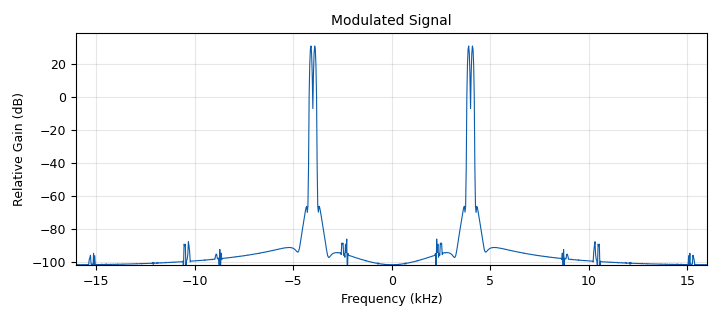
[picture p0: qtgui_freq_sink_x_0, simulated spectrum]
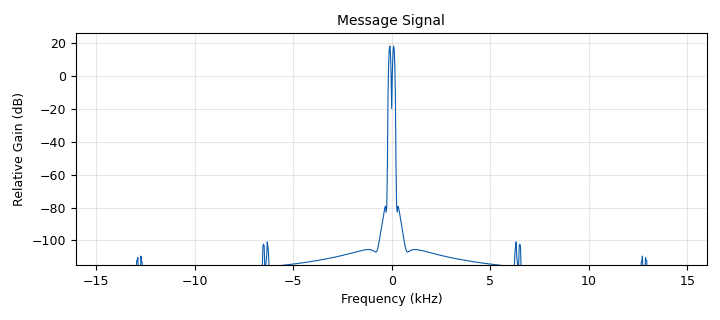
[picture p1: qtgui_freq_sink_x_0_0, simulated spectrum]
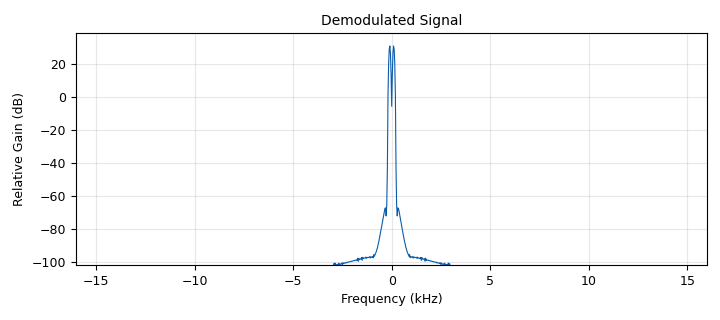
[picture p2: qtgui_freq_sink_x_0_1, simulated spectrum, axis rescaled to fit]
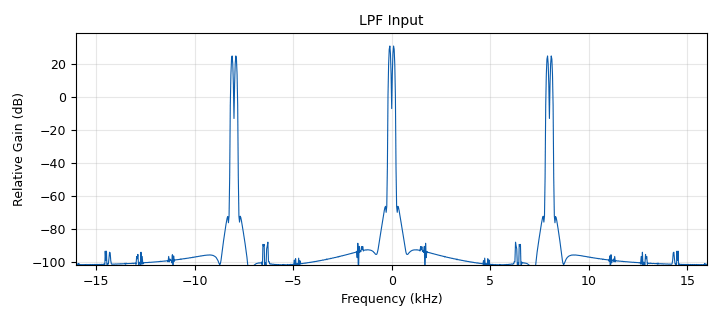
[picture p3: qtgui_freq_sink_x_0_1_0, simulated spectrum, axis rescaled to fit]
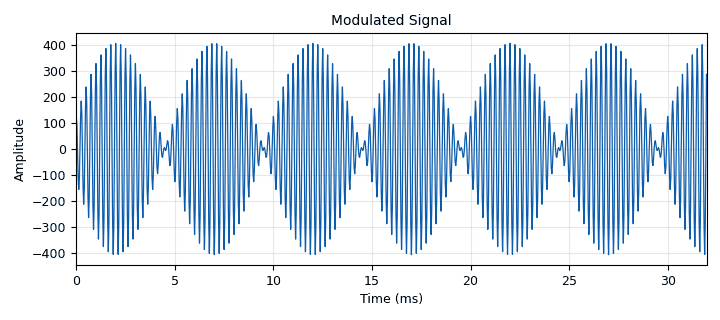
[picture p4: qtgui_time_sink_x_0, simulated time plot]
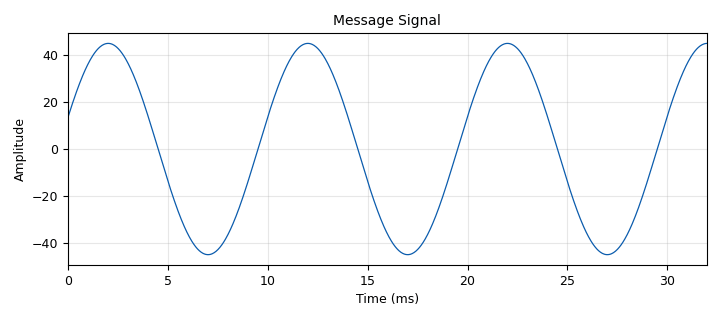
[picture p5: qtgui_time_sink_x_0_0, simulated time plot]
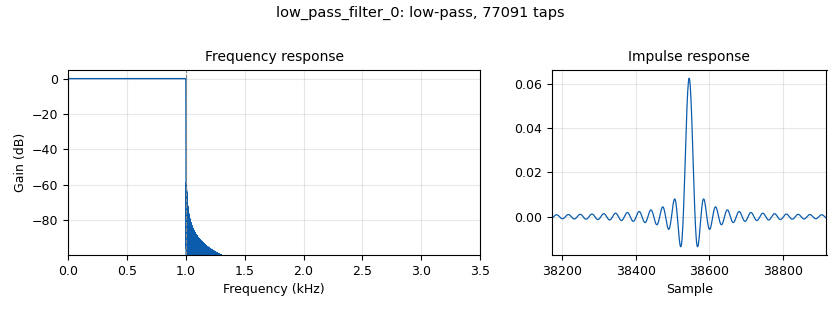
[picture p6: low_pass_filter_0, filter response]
options:
  parameters:
    generate_options: qt_gui
    id: dsb_sc
    output_language: python
    title: dsb_sc
  states: {}

blocks:
- name: carrier_amp
  id: variable
  parameters:
    value: msg_amp/mu
  states: {}
- name: msg_amp
  id: variable
  parameters:
    value: '45.0'
  states: {}
- name: mu
  id: variable
  parameters:
    value: '5'
  states: {}
- name: samp_rate
  id: variable
  parameters:
    value: '32000'
  states: {}
- name: analog_sig_source_x_0
  id: analog_sig_source_x
  parameters:
    amp: msg_amp
    freq: '100'
    offset: '0'
    phase: '0'
    samp_rate: samp_rate
    type: float
    waveform: analog.GR_COS_WAVE
  states: {}
- name: analog_sig_source_x_1
  id: analog_sig_source_x
  parameters:
    amp: carrier_amp
    freq: '4000'
    offset: '0'
    phase: '0'
    samp_rate: samp_rate
    type: float
    waveform: analog.GR_COS_WAVE
  states: {}
- name: blocks_multiply_xx_0
  id: blocks_multiply_xx
  parameters:
    type: float
  states: {}
- name: blocks_multiply_xx_2
  id: blocks_multiply_xx
  parameters:
    type: float
  states: {}
- name: blocks_throttle_0
  id: blocks_throttle
  parameters:
    samples_per_second: samp_rate
    type: float
  states: {}
- name: carrierSignal_0
  id: analog_sig_source_x
  parameters:
    amp: '1'
    freq: '4000'
    offset: '0'
    phase: '0'
    samp_rate: samp_rate
    type: float
    waveform: analog.GR_COS_WAVE
  states: {}
- name: low_pass_filter_0
  id: low_pass_filter
  parameters:
    cutoff_freq: '1000'
    decim: '1'
    gain: '1'
    samp_rate: samp_rate
    type: fir_filter_fff
    width: '1'
    win: firdes.WIN_HAMMING
  states: {}
- name: qtgui_freq_sink_x_0
  id: qtgui_freq_sink_x
  parameters:
    autoscale: 'True'
    bw: samp_rate
    ctrlpanel: 'True'
    fc: '0'
    fftsize: '1024'
    grid: 'True'
    name: '"Modulated Signal"'
    showports: 'True'
    type: float
    wintype: firdes.WIN_BLACKMAN_hARRIS
  states: {}
- name: qtgui_freq_sink_x_0_0
  id: qtgui_freq_sink_x
  parameters:
    autoscale: 'True'
    bw: samp_rate
    ctrlpanel: 'True'
    fc: '0'
    fftsize: '1024'
    grid: 'True'
    name: '"Message Signal"'
    showports: 'True'
    type: float
    wintype: firdes.WIN_BLACKMAN_hARRIS
  states: {}
- name: qtgui_freq_sink_x_0_1
  id: qtgui_freq_sink_x
  parameters:
    bw: samp_rate
    ctrlpanel: 'True'
    fc: '0'
    fftsize: '1024'
    name: '"Demodulated Signal"'
    showports: 'True'
    type: float
    wintype: firdes.WIN_BLACKMAN_hARRIS
  states: {}
- name: qtgui_freq_sink_x_0_1_0
  id: qtgui_freq_sink_x
  parameters:
    bw: samp_rate
    ctrlpanel: 'True'
    fc: '0'
    fftsize: '1024'
    name: '"LPF Input"'
    showports: 'True'
    type: float
    wintype: firdes.WIN_BLACKMAN_hARRIS
  states: {}
- name: qtgui_time_sink_x_0
  id: qtgui_time_sink_x
  parameters:
    autoscale: 'True'
    ctrlpanel: 'True'
    grid: 'True'
    label1: ''
    name: '"Modulated Signal"'
    size: '1024'
    srate: samp_rate
    type: float
  states: {}
- name: qtgui_time_sink_x_0_0
  id: qtgui_time_sink_x
  parameters:
    autoscale: 'True'
    ctrlpanel: 'True'
    grid: 'True'
    label1: ''
    name: '"Message Signal"'
    size: '1024'
    srate: samp_rate
    type: float
  states: {}
- name: qtgui_time_sink_x_0_0_0
  id: qtgui_time_sink_x
  parameters:
    autoscale: 'True'
    ctrlpanel: 'True'
    grid: 'True'
    label1: ''
    name: '"Demodulated Signal"'
    size: '1024'
    srate: samp_rate
    type: float
  states: {}

connections:
- [analog_sig_source_x_0, '0', blocks_multiply_xx_0, '0']
- [analog_sig_source_x_0, '0', qtgui_freq_sink_x_0_0, '0']
- [analog_sig_source_x_0, '0', qtgui_time_sink_x_0_0, '0']
- [analog_sig_source_x_1, '0', blocks_multiply_xx_0, '1']
- [blocks_multiply_xx_0, '0', blocks_throttle_0, '0']
- [blocks_multiply_xx_2, '0', low_pass_filter_0, '0']
- [blocks_multiply_xx_2, '0', qtgui_freq_sink_x_0_1_0, '0']
- [blocks_throttle_0, '0', blocks_multiply_xx_2, '0']
- [blocks_throttle_0, '0', qtgui_freq_sink_x_0, '0']
- [blocks_throttle_0, '0', qtgui_time_sink_x_0, '0']
- [carrierSignal_0, '0', blocks_multiply_xx_2, '1']
- [low_pass_filter_0, '0', qtgui_freq_sink_x_0_1, '0']
- [low_pass_filter_0, '0', qtgui_time_sink_x_0_0_0, '0']

metadata:
  file_format: 1
